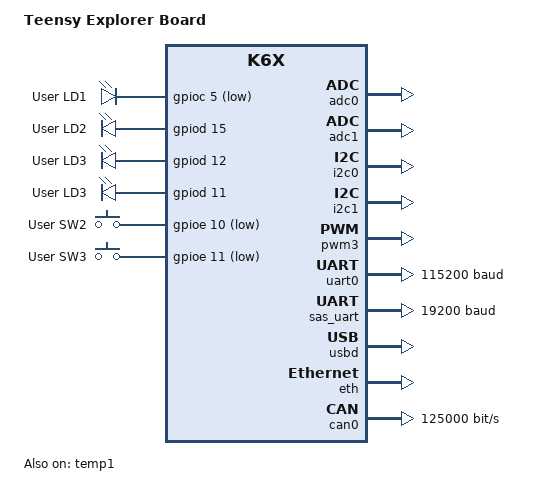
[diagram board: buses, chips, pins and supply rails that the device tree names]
/* SPDX-License-Identifier: Apache-2.0 */

/dts-v1/;

#include <nxp/nxp_k6x.dtsi>

/ {

	model = "Teensy Explorer Board";
	compatible = "nxp,mk66f18","nxp,mk66f","nxp,mk64f12", "nxp,k64f", "nxp,k6x";

	aliases {
		led0 = &teensy_led;
		led1 = &red_led;
		led2 = &green_led;
		led3 = &blue_led;
		sw0 = &user_button_3;
		sw1 = &user_button_2;
		can-primary = &can0;
	};

	chosen {
		zephyr,sram = &sram0;
		zephyr,flash = &flash0;
		zephyr,code-partition = &code_partition;
		zephyr,console = &uart0;
		zephyr,shell-uart = &uart0;
		zephyr,uart-pipe = &uart0;
	};

	leds {
		compatible = "gpio-leds";
		teensy_led: led_0 {
			gpios = <&gpioc 5 GPIO_ACTIVE_LOW>;
			label = "User LD1";
		};
		red_led: led_1 {
			gpios = <&gpiod 15 GPIO_ACTIVE_HIGH>;
			label = "User LD2";
		};
		green_led: led_2 {
			gpios = <&gpiod 12 GPIO_ACTIVE_HIGH>;
			label = "User LD3";
		};
		blue_led: led_3 {
			gpios = <&gpiod 11 GPIO_ACTIVE_HIGH>;
			label = "User LD3";
		};
	};

	gpio_keys {
		compatible = "gpio-keys";
		user_button_2: button_0 {
			label = "User SW2";
			gpios = <&gpioe 10 GPIO_ACTIVE_LOW>;
		};
		user_button_3: button_1 {
			label = "User SW3";
			gpios = <&gpioe 11 GPIO_ACTIVE_LOW>;
		};
	};
};

&cpu0 {
	clock-frequency = <120000000>;
};

&adc0 {
	status = "okay";
};

&adc1 {
	status = "okay";
};

&temp1 {
	status = "okay";
};

&i2c0 {
	status = "okay";
};

&i2c1 {
	status = "okay";
};

&pwm3 {
	status = "okay";
};

&uart0 {
	status = "okay";
	current-speed = <115200>;
};

&sas_uart {
	status = "okay";
	current-speed = <19200>;
};

&usbd {
	compatible = "nxp,kinetis-usbd";
	status = "okay";
	num-bidir-endpoints = <8>;
};

&eth {
	status = "okay";
	ptp {
		status = "okay";
	};
};

&can0 {
	status = "okay";
	bus-speed = <125000>;
};
